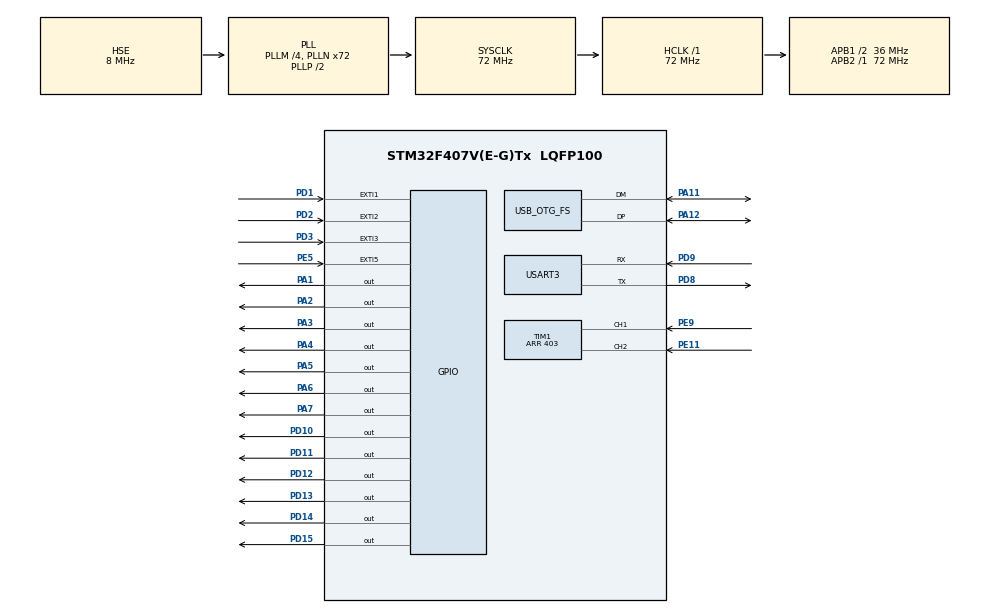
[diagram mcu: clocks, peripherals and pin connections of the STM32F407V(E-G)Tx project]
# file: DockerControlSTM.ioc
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Mcu.Family=STM32F4
Mcu.Name=STM32F407V(E-G)Tx
Mcu.Package=LQFP100
NVIC.EXTI1_IRQn=true\:0\:0\:false\:false\:true\:true
NVIC.EXTI2_IRQn=true\:0\:0\:false\:false\:true\:true
NVIC.EXTI3_IRQn=true\:0\:0\:false\:false\:true\:true
NVIC.EXTI9_5_IRQn=true\:0\:0\:false\:false\:true\:true
NVIC.OTG_FS_IRQn=true\:0\:0\:false\:false\:true\:true
NVIC.PriorityGroup=NVIC_PRIORITYGROUP_4
NVIC.TIM2_IRQn=true\:0\:0\:false\:false\:true\:true
NVIC.TIM4_IRQn=true\:0\:0\:false\:false\:true\:true
NVIC.USART3_IRQn=true\:0\:0\:false\:false\:true\:true
PA1.Signal=GPIO_Output
PA11.Mode=Device_Only
PA11.Signal=USB_OTG_FS_DM
PA12.Mode=Device_Only
PA12.Signal=USB_OTG_FS_DP
PA2.Signal=GPIO_Output
PA3.Signal=GPIO_Output
PA4.Signal=GPIO_Output
PA5.Signal=GPIO_Output
PA6.Signal=GPIO_Output
PA7.Signal=GPIO_Output
PD1.GPIO_PuPd=GPIO_PULLDOWN
PD1.Signal=GPXTI1
PD10.GPIO_ModeDefaultOutputPP=GPIO_MODE_OUTPUT_PP
PD10.GPIO_PuPd=GPIO_NOPULL
PD10.PinState=GPIO_PIN_SET
PD10.Signal=GPIO_Output
PD11.GPIO_ModeDefaultOutputPP=GPIO_MODE_OUTPUT_PP
PD11.GPIO_PuPd=GPIO_NOPULL
PD11.PinState=GPIO_PIN_RESET
PD11.Signal=GPIO_Output
PD12.Signal=GPIO_Output
PD13.Signal=GPIO_Output
PD14.Signal=GPIO_Output
PD15.Signal=GPIO_Output
PD2.GPIO_PuPd=GPIO_PULLDOWN
PD2.Signal=GPXTI2
PD3.GPIO_PuPd=GPIO_PULLDOWN
PD3.Signal=GPXTI3
PD8.Mode=Asynchronous
PD8.Signal=USART3_TX
PD9.Mode=Asynchronous
PD9.Signal=USART3_RX
PE11.GPIO_PuPd=GPIO_PULLUP
PE11.Signal=S_TIM1_CH2
PE5.GPIO_PuPd=GPIO_PULLDOWN
PE5.Signal=GPXTI5
PE9.GPIO_PuPd=GPIO_PULLUP
PE9.Signal=S_TIM1_CH1
PH0-OSC_IN.Mode=HSE-External-Oscillator
PH0-OSC_IN.Signal=RCC_OSC_IN
PH1-OSC_OUT.Mode=HSE-External-Oscillator
PH1-OSC_OUT.Signal=RCC_OSC_OUT
ProjectManager.HeapSize=0x200
ProjectManager.StackSize=0x400
ProjectManager.TargetToolchain=SW4STM32
RCC.48MHZClocksFreq_Value=48000000
RCC.AHBFreq_Value=72000000
RCC.APB1CLKDivider=RCC_HCLK_DIV2
RCC.APB1Freq_Value=36000000
RCC.APB1TimFreq_Value=72000000
RCC.APB2Freq_Value=72000000
RCC.APB2TimFreq_Value=72000000
RCC.CortexFreq_Value=72000000
RCC.HCLKFreq_Value=72000000
RCC.HSE_VALUE=8000000
RCC.HSI_VALUE=16000000
RCC.LSE_VALUE=32768
RCC.PLLM=4
RCC.PLLN=72
RCC.PLLQ=3
RCC.SYSCLKFreq_VALUE=72000000
RCC.SYSCLKSource=RCC_SYSCLKSOURCE_PLLCLK
RCC.VCOOutputFreq_Value=144000000
SH.S_TIM1_CH1.0=TIM1_CH1,Encoder_Interface
SH.S_TIM1_CH2.0=TIM1_CH2,Encoder_Interface
TIM1.EncoderMode=TIM_ENCODERMODE_TI12
TIM1.IC1Filter=15
TIM1.IC2Filter=15
TIM1.Period=403
TIM2.Period=199
TIM2.Prescaler=7199
TIM4.Period=9999
TIM4.Prescaler=41999
USART3.VirtualMode=VM_ASYNC
USB_DEVICE.CLASS_NAME_FS=CDC
USB_DEVICE.VirtualMode-CDC_FS=Cdc
USB_DEVICE.VirtualModeFS=Cdc_FS
USB_OTG_FS.VirtualMode=Device_Only
VP_TIM2_VS_ClockSourceINT.Mode=Internal
VP_TIM4_VS_ClockSourceINT.Mode=Internal
VP_USB_DEVICE_VS_USB_DEVICE_CDC_FS.Mode=CDC_FS
board=custom

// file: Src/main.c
/* USER CODE BEGIN Header */
/**
  ******************************************************************************
  * @file           : main.c
  * @brief          : Main program body
  ******************************************************************************
  ** This notice applies to any and all portions of this file
  * that are not between comment pairs USER CODE BEGIN and
  * USER CODE END. Other portions of this file, whether
  * inserted by the user or by software development tools
  * are owned by their respective copyright owners.
  *
  * COPYRIGHT(c) 2019 STMicroelectronics
  *
  * Redistribution and use in source and binary forms, with or without modification,
  * are permitted provided that the following conditions are met:
  *   1. Redistributions of source code must retain the above copyright notice,
  *      this list of conditions and the following disclaimer.
  *   2. Redistributions in binary form must reproduce the above copyright notice,
  *      this list of conditions and the following disclaimer in the documentation
  *      and/or other materials provided with the distribution.
  *   3. Neither the name of STMicroelectronics nor the names of its contributors
  *      may be used to endorse or promote products derived from this software
  *      without specific prior written permission.
  *
  * THIS SOFTWARE IS PROVIDED BY THE COPYRIGHT HOLDERS AND CONTRIBUTORS "AS IS"
  * AND ANY EXPRESS OR IMPLIED WARRANTIES, INCLUDING, BUT NOT LIMITED TO, THE
  * IMPLIED WARRANTIES OF MERCHANTABILITY AND FITNESS FOR A PARTICULAR PURPOSE ARE
  * DISCLAIMED. IN NO EVENT SHALL THE COPYRIGHT HOLDER OR CONTRIBUTORS BE LIABLE
  * FOR ANY DIRECT, INDIRECT, INCIDENTAL, SPECIAL, EXEMPLARY, OR CONSEQUENTIAL
  * DAMAGES (INCLUDING, BUT NOT LIMITED TO, PROCUREMENT OF SUBSTITUTE GOODS OR
  * SERVICES; LOSS OF USE, DATA, OR PROFITS; OR BUSINESS INTERRUPTION) HOWEVER
  * CAUSED AND ON ANY THEORY OF LIABILITY, WHETHER IN CONTRACT, STRICT LIABILITY,
  * OR TORT (INCLUDING NEGLIGENCE OR OTHERWISE) ARISING IN ANY WAY OUT OF THE USE
  * OF THIS SOFTWARE, EVEN IF ADVISED OF THE POSSIBILITY OF SUCH DAMAGE.
  *
  ******************************************************************************
  */
/* USER CODE END Header */

#include "main.h"
#include "usb_device.h"

/* USER CODE BEGIN Includes */

#include "usbd_cdc_if.h"

#include "menu/menu.h"
/* USER CODE END Includes */

TIM_HandleTypeDef htim1;
TIM_HandleTypeDef htim2;
TIM_HandleTypeDef htim4;

UART_HandleTypeDef huart3;

/* USER CODE BEGIN PV */

// buttons
extern volatile uint8_t enter_pressed;
extern volatile uint8_t confirm_pressed;
extern volatile uint8_t back_pressed;
extern volatile uint8_t shift_pressed;

// system data
extern char server_ip;
extern char server_port;
extern char wifi_name;
extern char wifi_password;

// esp driver
extern uint8_t esp_packet_received;
extern uint8_t esp_received_packet_header[10];
extern uint8_t esp_received_packet_body[4096];

// dc
extern enum DC_COMMAND_ENUM cmd;
extern uint8_t dc_ready;
extern uint8_t dc_wait;
extern uint8_t dc_new_containers;
extern uint8_t dc_containers_size;
extern struct container dc_containers[];
extern uint8_t dc_new_images;
extern uint8_t dc_images_size;
extern image dc_images[];
extern uint8_t dc_update;
extern struct stats dc_stats;
extern uint8_t dc_alerts_size;
extern alert dc_alerts[];

/* USER CODE END PV */

void SystemClock_Config(void);
static void MX_GPIO_Init(void);
static void MX_USART3_UART_Init(void);
static void MX_TIM1_Init(void);
static void MX_TIM2_Init(void);
static void MX_TIM4_Init(void);
/* USER CODE BEGIN PFP */

void HAL_UART_RxCpltCallback(UART_HandleTypeDef * huart) {
    esp_data_callback(huart);
}

void HAL_TIM_PeriodElapsedCallback(TIM_HandleTypeDef *htim) {
  HAL_GPIO_TogglePin(GPIOD, GPIO_PIN_13);
  if(htim->Instance == TIM2) {
    if (HAL_GPIO_ReadPin(GPIOE, GPIO_PIN_5) == GPIO_PIN_SET) {
        enter_pressed = 1;
    }
    else if (HAL_GPIO_ReadPin(GPIOD, GPIO_PIN_1) == GPIO_PIN_SET) {
        shift_pressed = 1;
    }
    else if (HAL_GPIO_ReadPin(GPIOD, GPIO_PIN_2) == GPIO_PIN_SET) {
        back_pressed = 1;
    }
    else if (HAL_GPIO_ReadPin(GPIOD, GPIO_PIN_3) == GPIO_PIN_SET) {
       confirm_pressed = 1;
    }
    HAL_GPIO_TogglePin(GPIOD, GPIO_PIN_15);
    HAL_TIM_Base_Stop(&htim2);
  }
  if (htim->Instance == TIM4) {
      dc_update_callback();
  }
}

void HAL_GPIO_EXTI_Callback(uint16_t GPIO_Pin) {
  if (GPIO_Pin == GPIO_PIN_5 || GPIO_Pin == GPIO_PIN_1 || GPIO_Pin ==  GPIO_PIN_2 || GPIO_Pin ==  GPIO_PIN_3) {// && HAL_GPIO_ReadPin(GPIOE, GPIO_PIN_5) == GPIO_PIN_SET) {
    HAL_GPIO_TogglePin(GPIOD, GPIO_PIN_14);
    HAL_TIM_Base_Start_IT(&htim2);
  }
}
/* USER CODE END PFP */

int main(void)
{

  /* MCU Configuration--------------------------------------------------------*/

  /* Reset of all peripherals, Initializes the Flash interface and the Systick. */
  HAL_Init();

  /* Configure the system clock */
  SystemClock_Config();

  /* Initialize all configured peripherals */
  MX_GPIO_Init();
  MX_USART3_UART_Init();
  MX_USB_DEVICE_Init();
  MX_TIM1_Init();
  MX_TIM2_Init();
  MX_TIM4_Init();
  /* USER CODE BEGIN 2 */

  util_log("DockerControl init");

  HAL_TIM_Encoder_Start(&htim1, TIM_CHANNEL_ALL);
  TM_HD44780_Init(24, 2);

  HAL_GPIO_WritePin(GPIOD, GPIO_PIN_12, GPIO_PIN_SET);
  util_log("DockerControl ready");

  connection_menu();
  dc_start(&huart3, &htim4);

  /* USER CODE END 2 */

  /* Infinite loop */
  /* USER CODE BEGIN WHILE */

// clion not to alert endless loop
#pragma clang diagnostic push
#pragma clang diagnostic ignored "-Wmissing-noreturn"
    util_log("endless loop");
    while (1)
    {
        if (dc_ready) {
            util_log("dc_ready action");

            dc_send(&huart3);
            dc_ready = 0;
        }
        else if (esp_packet_received) {
            util_log("esp_packet_received action");
            dc_wait = 0;
            dc_new_cmd(esp_received_packet_header, esp_received_packet_body);

            esp_packet_received = 0;
        }
        else if (dc_update) {
            util_log("dc_update action");
            dc_update_action();
        }
        else if (!dc_wait) {
            main_menu(dc_containers, &dc_containers_size, dc_images, &dc_images_size, &dc_stats, dc_alerts, &dc_alerts_size);
        }

    /* USER CODE END WHILE */

    /* USER CODE BEGIN 3 */

  }

#pragma clang diagnostic pop
  /* USER CODE END 3 */
}

void SystemClock_Config(void)
{
  RCC_OscInitTypeDef RCC_OscInitStruct = {0};
  RCC_ClkInitTypeDef RCC_ClkInitStruct = {0};

  /**Configure the main internal regulator output voltage
  */
  __HAL_RCC_PWR_CLK_ENABLE();
  __HAL_PWR_VOLTAGESCALING_CONFIG(PWR_REGULATOR_VOLTAGE_SCALE1);
  /**Initializes the CPU, AHB and APB busses clocks
  */
  RCC_OscInitStruct.OscillatorType = RCC_OSCILLATORTYPE_HSE;
  RCC_OscInitStruct.HSEState = RCC_HSE_ON;
  RCC_OscInitStruct.PLL.PLLState = RCC_PLL_ON;
  RCC_OscInitStruct.PLL.PLLSource = RCC_PLLSOURCE_HSE;
  RCC_OscInitStruct.PLL.PLLM = 4;
  RCC_OscInitStruct.PLL.PLLN = 72;
  RCC_OscInitStruct.PLL.PLLP = RCC_PLLP_DIV2;
  RCC_OscInitStruct.PLL.PLLQ = 3;
  if (HAL_RCC_OscConfig(&RCC_OscInitStruct) != HAL_OK)
  {
    Error_Handler();
  }
  /**Initializes the CPU, AHB and APB busses clocks
  */
  RCC_ClkInitStruct.ClockType = RCC_CLOCKTYPE_HCLK|RCC_CLOCKTYPE_SYSCLK
                              |RCC_CLOCKTYPE_PCLK1|RCC_CLOCKTYPE_PCLK2;
  RCC_ClkInitStruct.SYSCLKSource = RCC_SYSCLKSOURCE_PLLCLK;
  RCC_ClkInitStruct.AHBCLKDivider = RCC_SYSCLK_DIV1;
  RCC_ClkInitStruct.APB1CLKDivider = RCC_HCLK_DIV2;
  RCC_ClkInitStruct.APB2CLKDivider = RCC_HCLK_DIV1;

  if (HAL_RCC_ClockConfig(&RCC_ClkInitStruct, FLASH_LATENCY_2) != HAL_OK)
  {
    Error_Handler();
  }
}

static void MX_TIM1_Init(void)
{

  TIM_Encoder_InitTypeDef sConfig = {0};
  TIM_MasterConfigTypeDef sMasterConfig = {0};

  htim1.Instance = TIM1;
  htim1.Init.Prescaler = 0;
  htim1.Init.CounterMode = TIM_COUNTERMODE_UP;
  htim1.Init.Period = 403;
  htim1.Init.ClockDivision = TIM_CLOCKDIVISION_DIV1;
  htim1.Init.RepetitionCounter = 0;
  sConfig.EncoderMode = TIM_ENCODERMODE_TI12;
  sConfig.IC1Polarity = TIM_ICPOLARITY_RISING;
  sConfig.IC1Selection = TIM_ICSELECTION_DIRECTTI;
  sConfig.IC1Prescaler = TIM_ICPSC_DIV1;
  sConfig.IC1Filter = 15;
  sConfig.IC2Polarity = TIM_ICPOLARITY_RISING;
  sConfig.IC2Selection = TIM_ICSELECTION_DIRECTTI;
  sConfig.IC2Prescaler = TIM_ICPSC_DIV1;
  sConfig.IC2Filter = 15;
  if (HAL_TIM_Encoder_Init(&htim1, &sConfig) != HAL_OK)
  {
    Error_Handler();
  }
  sMasterConfig.MasterOutputTrigger = TIM_TRGO_RESET;
  sMasterConfig.MasterSlaveMode = TIM_MASTERSLAVEMODE_DISABLE;
  if (HAL_TIMEx_MasterConfigSynchronization(&htim1, &sMasterConfig) != HAL_OK)
  {
    Error_Handler();
  }

}

static void MX_TIM2_Init(void)
{

  TIM_ClockConfigTypeDef sClockSourceConfig = {0};
  TIM_MasterConfigTypeDef sMasterConfig = {0};

  htim2.Instance = TIM2;
  htim2.Init.Prescaler = 7199;
  htim2.Init.CounterMode = TIM_COUNTERMODE_UP;
  htim2.Init.Period = 199;
  htim2.Init.ClockDivision = TIM_CLOCKDIVISION_DIV1;
  if (HAL_TIM_Base_Init(&htim2) != HAL_OK)
  {
    Error_Handler();
  }
  sClockSourceConfig.ClockSource = TIM_CLOCKSOURCE_INTERNAL;
  if (HAL_TIM_ConfigClockSource(&htim2, &sClockSourceConfig) != HAL_OK)
  {
    Error_Handler();
  }
  sMasterConfig.MasterOutputTrigger = TIM_TRGO_RESET;
  sMasterConfig.MasterSlaveMode = TIM_MASTERSLAVEMODE_DISABLE;
  if (HAL_TIMEx_MasterConfigSynchronization(&htim2, &sMasterConfig) != HAL_OK)
  {
    Error_Handler();
  }

}

static void MX_TIM4_Init(void)
{

  TIM_ClockConfigTypeDef sClockSourceConfig = {0};
  TIM_MasterConfigTypeDef sMasterConfig = {0};

  htim4.Instance = TIM4;
  htim4.Init.Prescaler = 41999;
  htim4.Init.CounterMode = TIM_COUNTERMODE_UP;
  htim4.Init.Period = 9999;
  htim4.Init.ClockDivision = TIM_CLOCKDIVISION_DIV1;
  if (HAL_TIM_Base_Init(&htim4) != HAL_OK)
  {
    Error_Handler();
  }
  sClockSourceConfig.ClockSource = TIM_CLOCKSOURCE_INTERNAL;
  if (HAL_TIM_ConfigClockSource(&htim4, &sClockSourceConfig) != HAL_OK)
  {
    Error_Handler();
  }
  sMasterConfig.MasterOutputTrigger = TIM_TRGO_RESET;
  sMasterConfig.MasterSlaveMode = TIM_MASTERSLAVEMODE_DISABLE;
  if (HAL_TIMEx_MasterConfigSynchronization(&htim4, &sMasterConfig) != HAL_OK)
  {
    Error_Handler();
  }

}

static void MX_USART3_UART_Init(void)
{

  huart3.Instance = USART3;
  huart3.Init.BaudRate = 115200;
  huart3.Init.WordLength = UART_WORDLENGTH_8B;
  huart3.Init.StopBits = UART_STOPBITS_1;
  huart3.Init.Parity = UART_PARITY_NONE;
  huart3.Init.Mode = UART_MODE_TX_RX;
  huart3.Init.HwFlowCtl = UART_HWCONTROL_NONE;
  huart3.Init.OverSampling = UART_OVERSAMPLING_16;
  if (HAL_UART_Init(&huart3) != HAL_OK)
  {
    Error_Handler();
  }

}

static void MX_GPIO_Init(void)
{
  GPIO_InitTypeDef GPIO_InitStruct = {0};

  /* GPIO Ports Clock Enable */
  __HAL_RCC_GPIOE_CLK_ENABLE();
  __HAL_RCC_GPIOH_CLK_ENABLE();
  __HAL_RCC_GPIOA_CLK_ENABLE();
  __HAL_RCC_GPIOD_CLK_ENABLE();

  /*Configure GPIO pin Output Level */
  HAL_GPIO_WritePin(GPIOA, GPIO_PIN_1|GPIO_PIN_2|GPIO_PIN_3|GPIO_PIN_4
                          |GPIO_PIN_5|GPIO_PIN_6|GPIO_PIN_7, GPIO_PIN_RESET);

  /*Configure GPIO pin Output Level */
  HAL_GPIO_WritePin(GPIOD, GPIO_PIN_10, GPIO_PIN_SET);

  /*Configure GPIO pin Output Level */
  HAL_GPIO_WritePin(GPIOD, GPIO_PIN_11|GPIO_PIN_12|GPIO_PIN_13|GPIO_PIN_14
                          |GPIO_PIN_15, GPIO_PIN_RESET);

  /*Configure GPIO pin : PE5 */
  GPIO_InitStruct.Pin = GPIO_PIN_5;
  GPIO_InitStruct.Mode = GPIO_MODE_IT_RISING;
  GPIO_InitStruct.Pull = GPIO_PULLDOWN;
  HAL_GPIO_Init(GPIOE, &GPIO_InitStruct);

  /*Configure GPIO pins : PA1 PA2 PA3 PA4
                           PA5 PA6 PA7 */
  GPIO_InitStruct.Pin = GPIO_PIN_1|GPIO_PIN_2|GPIO_PIN_3|GPIO_PIN_4
                          |GPIO_PIN_5|GPIO_PIN_6|GPIO_PIN_7;
  GPIO_InitStruct.Mode = GPIO_MODE_OUTPUT_PP;
  GPIO_InitStruct.Pull = GPIO_NOPULL;
  GPIO_InitStruct.Speed = GPIO_SPEED_FREQ_LOW;
  HAL_GPIO_Init(GPIOA, &GPIO_InitStruct);

  /*Configure GPIO pins : PD10 PD11 PD12 PD13
                           PD14 PD15 */
  GPIO_InitStruct.Pin = GPIO_PIN_10|GPIO_PIN_11|GPIO_PIN_12|GPIO_PIN_13
                          |GPIO_PIN_14|GPIO_PIN_15;
  GPIO_InitStruct.Mode = GPIO_MODE_OUTPUT_PP;
  GPIO_InitStruct.Pull = GPIO_NOPULL;
  GPIO_InitStruct.Speed = GPIO_SPEED_FREQ_LOW;
  HAL_GPIO_Init(GPIOD, &GPIO_InitStruct);

  /*Configure GPIO pins : PD1 PD2 PD3 */
  GPIO_InitStruct.Pin = GPIO_PIN_1|GPIO_PIN_2|GPIO_PIN_3;
  GPIO_InitStruct.Mode = GPIO_MODE_IT_RISING;
  GPIO_InitStruct.Pull = GPIO_PULLDOWN;
  HAL_GPIO_Init(GPIOD, &GPIO_InitStruct);

  /* EXTI interrupt init*/
  HAL_NVIC_SetPriority(EXTI1_IRQn, 0, 0);
  HAL_NVIC_EnableIRQ(EXTI1_IRQn);

  HAL_NVIC_SetPriority(EXTI2_IRQn, 0, 0);
  HAL_NVIC_EnableIRQ(EXTI2_IRQn);

  HAL_NVIC_SetPriority(EXTI3_IRQn, 0, 0);
  HAL_NVIC_EnableIRQ(EXTI3_IRQn);

  HAL_NVIC_SetPriority(EXTI9_5_IRQn, 0, 0);
  HAL_NVIC_EnableIRQ(EXTI9_5_IRQn);

}

void Error_Handler(void)
{
}

/************************ (C) COPYRIGHT STMicroelectronics *****END OF FILE****/
